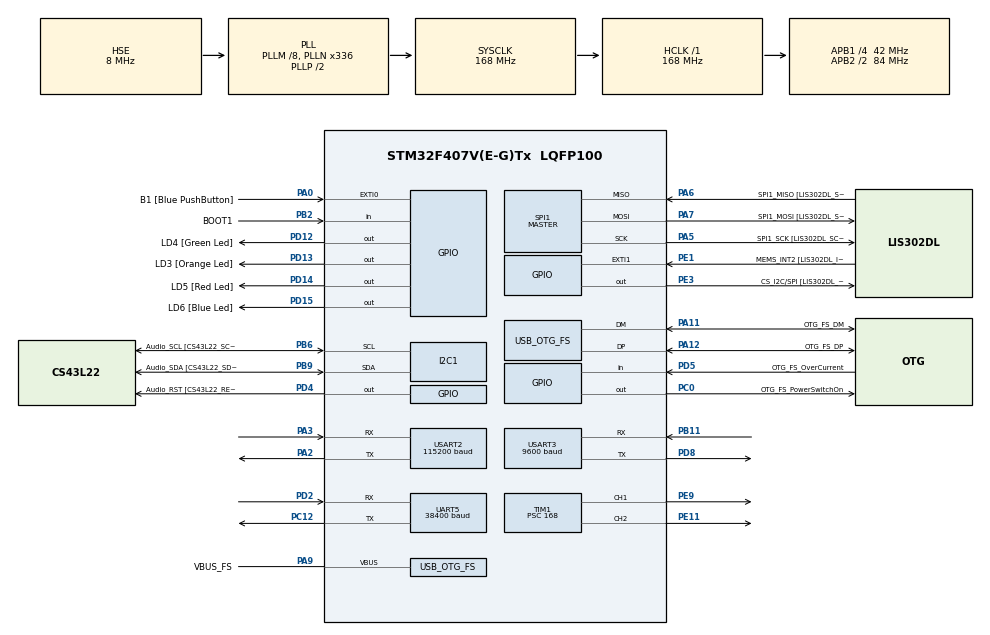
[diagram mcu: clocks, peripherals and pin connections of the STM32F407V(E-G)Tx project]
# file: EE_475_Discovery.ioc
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Dma.Request0=USART3_RX
Dma.USART3_RX.0.Direction=DMA_PERIPH_TO_MEMORY
Dma.USART3_RX.0.FIFOMode=DMA_FIFOMODE_DISABLE
Dma.USART3_RX.0.Instance=DMA1_Stream1
Dma.USART3_RX.0.MemDataAlignment=DMA_MDATAALIGN_BYTE
Dma.USART3_RX.0.MemInc=DMA_MINC_ENABLE
Dma.USART3_RX.0.Mode=DMA_CIRCULAR
Dma.USART3_RX.0.PeriphDataAlignment=DMA_PDATAALIGN_BYTE
Dma.USART3_RX.0.PeriphInc=DMA_PINC_DISABLE
Dma.USART3_RX.0.Priority=DMA_PRIORITY_LOW
Mcu.Family=STM32F4
Mcu.Name=STM32F407V(E-G)Tx
Mcu.Package=LQFP100
NVIC.DMA1_Stream1_IRQn=true\:0\:0\:false\:false\:true\:false\:true\:true
NVIC.OTG_FS_IRQn=true\:0\:0\:false\:false\:true\:true\:true\:true
NVIC.PriorityGroup=NVIC_PRIORITYGROUP_0
NVIC.UART5_IRQn=true\:0\:0\:false\:false\:true\:true\:true\:true
NVIC.USART3_IRQn=true\:0\:0\:false\:false\:true\:true\:true\:true
PA0-WKUP.GPIO_Label=B1 [Blue PushButton]
PA0-WKUP.GPIO_ModeDefaultEXTI=GPIO_MODE_EVT_RISING
PA0-WKUP.GPIO_PuPd=GPIO_NOPULL
PA0-WKUP.Signal=GPXTI0
PA10.GPIO_Label=OTG_FS_ID
PA10.GPIO_Mode=GPIO_MODE_AF_PP
PA10.GPIO_PuPd=GPIO_NOPULL
PA10.GPIO_Speed=GPIO_SPEED_FREQ_LOW
PA10.Signal=USB_OTG_FS_ID
PA11.GPIO_Label=OTG_FS_DM
PA11.GPIO_Mode=GPIO_MODE_AF_PP
PA11.GPIO_PuPd=GPIO_NOPULL
PA11.GPIO_Speed=GPIO_SPEED_FREQ_LOW
PA11.Mode=Host_Only
PA11.Signal=USB_OTG_FS_DM
PA12.GPIO_Label=OTG_FS_DP
PA12.GPIO_Mode=GPIO_MODE_AF_PP
PA12.GPIO_PuPd=GPIO_NOPULL
PA12.GPIO_Speed=GPIO_SPEED_FREQ_LOW
PA12.Mode=Host_Only
PA12.Signal=USB_OTG_FS_DP
PA13.GPIO_Label=SWDIO
PA13.Mode=Serial_Wire
PA13.Signal=SYS_JTMS-SWDIO
PA14.GPIO_Label=SWCLK
PA14.Mode=Serial_Wire
PA14.Signal=SYS_JTCK-SWCLK
PA2.Mode=Asynchronous
PA2.Signal=USART2_TX
PA3.Mode=Asynchronous
PA3.Signal=USART2_RX
PA4.GPIO_Mode=GPIO_MODE_AF_PP
PA4.GPIO_PuPd=GPIO_NOPULL
PA4.GPIO_Speed=GPIO_SPEED_FREQ_LOW
PA4.Signal=I2S3_WS
PA5.GPIO_Label=SPI1_SCK [LIS302DL_SCL/SPC]
PA5.GPIO_Mode=GPIO_MODE_AF_PP
PA5.GPIO_PuPd=GPIO_NOPULL
PA5.GPIO_Speed=GPIO_SPEED_FREQ_LOW
PA5.Mode=Full_Duplex_Master
PA5.Signal=SPI1_SCK
PA6.GPIO_Label=SPI1_MISO [LIS302DL_SDO]
PA6.GPIO_Mode=GPIO_MODE_AF_PP
PA6.GPIO_PuPd=GPIO_NOPULL
PA6.GPIO_Speed=GPIO_SPEED_FREQ_LOW
PA6.Mode=Full_Duplex_Master
PA6.Signal=SPI1_MISO
PA7.GPIO_Label=SPI1_MOSI [LIS302DL_SDA/SDI/SDO]
PA7.GPIO_Mode=GPIO_MODE_AF_PP
PA7.GPIO_PuPd=GPIO_NOPULL
PA7.GPIO_Speed=GPIO_SPEED_FREQ_LOW
PA7.Mode=Full_Duplex_Master
PA7.Signal=SPI1_MOSI
PA9.GPIO_Label=VBUS_FS
PA9.GPIO_Mode=GPIO_MODE_INPUT
PA9.GPIO_PuPd=GPIO_NOPULL
PA9.Mode=Activate_VBUS
PA9.Signal=USB_OTG_FS_VBUS
PB10.GPIO_Label=CLK_IN [MP45DT02_CLK]
PB10.GPIO_Mode=GPIO_MODE_AF_PP
PB10.GPIO_PuPd=GPIO_NOPULL
PB10.GPIO_Speed=GPIO_SPEED_FREQ_LOW
PB10.Signal=I2S2_CK
PB11.Mode=Asynchronous
PB11.Signal=USART3_RX
PB2.GPIO_Label=BOOT1
PB2.GPIO_Mode=GPIO_MODE_INPUT
PB2.GPIO_PuPd=GPIO_NOPULL
PB2.Signal=GPIO_Input
PB3.GPIO_Label=SWO
PB3.Signal=SYS_JTDO-SWO
PB6.GPIO_Label=Audio_SCL [CS43L22_SCL]
PB6.GPIO_Mode=GPIO_MODE_AF_OD
PB6.GPIO_Pu=GPIO_PULLUP
PB6.GPIO_PuPd=GPIO_NOPULL
PB6.GPIO_Speed=GPIO_SPEED_FREQ_LOW
PB6.Mode=I2C
PB6.Signal=I2C1_SCL
PB9.GPIO_Label=Audio_SDA [CS43L22_SDA]
PB9.GPIO_Mode=GPIO_MODE_AF_OD
PB9.GPIO_Pu=GPIO_PULLUP
PB9.GPIO_PuPd=GPIO_NOPULL
PB9.GPIO_Speed=GPIO_SPEED_FREQ_LOW
PB9.Mode=I2C
PB9.Signal=I2C1_SDA
PC0.GPIO_Label=OTG_FS_PowerSwitchOn
PC0.GPIO_PuPd=GPIO_NOPULL
PC0.GPIO_Speed=GPIO_SPEED_FREQ_LOW
PC0.PinState=GPIO_PIN_SET
PC0.Signal=GPIO_Output
PC10.GPIO_Mode=GPIO_MODE_AF_PP
PC10.GPIO_PuPd=GPIO_NOPULL
PC10.GPIO_Speed=GPIO_SPEED_FREQ_LOW
PC10.Signal=I2S3_CK
PC12.Mode=Asynchronous
PC12.Signal=UART5_TX
PC14-OSC32_IN.GPIO_Label=PC14-OSC32_IN
PC14-OSC32_IN.Mode=LSE-External-Oscillator
PC14-OSC32_IN.Signal=RCC_OSC32_IN
PC15-OSC32_OUT.GPIO_Label=PC15-OSC32_OUT
PC15-OSC32_OUT.Mode=LSE-External-Oscillator
PC15-OSC32_OUT.Signal=RCC_OSC32_OUT
PC3.GPIO_Label=PDM_OUT [MP45DT02_DOUT]
PC3.GPIO_Mode=GPIO_MODE_AF_PP
PC3.GPIO_PuPd=GPIO_NOPULL
PC3.GPIO_Speed=GPIO_SPEED_FREQ_LOW
PC3.Signal=I2S2_SD
PC7.GPIO_Mode=GPIO_MODE_AF_PP
PC7.GPIO_PuPd=GPIO_NOPULL
PC7.GPIO_Speed=GPIO_SPEED_FREQ_LOW
PC7.Signal=I2S3_MCK
PD12.GPIO_Label=LD4 [Green Led]
PD12.GPIO_PuPd=GPIO_NOPULL
PD12.GPIO_Speed=GPIO_SPEED_FREQ_LOW
PD12.Signal=GPIO_Output
PD13.GPIO_Label=LD3 [Orange Led]
PD13.GPIO_PuPd=GPIO_NOPULL
PD13.GPIO_Speed=GPIO_SPEED_FREQ_LOW
PD13.Signal=GPIO_Output
PD14.GPIO_Label=LD5 [Red Led]
PD14.GPIO_PuPd=GPIO_NOPULL
PD14.GPIO_Speed=GPIO_SPEED_FREQ_LOW
PD14.Signal=GPIO_Output
PD15.GPIO_Label=LD6 [Blue Led]
PD15.GPIO_PuPd=GPIO_NOPULL
PD15.GPIO_Speed=GPIO_SPEED_FREQ_LOW
PD15.Signal=GPIO_Output
PD2.Mode=Asynchronous
PD2.Signal=UART5_RX
PD4.GPIO_Label=Audio_RST [CS43L22_RESET]
PD4.GPIO_PuPd=GPIO_NOPULL
PD4.GPIO_Speed=GPIO_SPEED_FREQ_LOW
PD4.Signal=GPIO_Output
PD5.GPIO_Label=OTG_FS_OverCurrent
PD5.GPIO_Mode=GPIO_MODE_INPUT
PD5.GPIO_PuPd=GPIO_NOPULL
PD5.Signal=GPIO_Input
PD8.Mode=Asynchronous
PD8.Signal=USART3_TX
PE1.GPIO_Label=MEMS_INT2 [LIS302DL_INT2]
PE1.GPIO_ModeDefaultEXTI=GPIO_MODE_EVT_RISING
PE1.GPIO_PuPd=GPIO_NOPULL
PE1.Signal=GPXTI1
PE11.Signal=S_TIM1_CH2
PE3.GPIO_Label=CS_I2C/SPI [LIS302DL_CS_I2C/SPI]
PE3.GPIO_PuPd=GPIO_NOPULL
PE3.GPIO_Speed=GPIO_SPEED_FREQ_LOW
PE3.Signal=GPIO_Output
PE9.Signal=S_TIM1_CH1
PH0-OSC_IN.GPIO_Label=PH0-OSC_IN
PH0-OSC_IN.Mode=HSE-External-Oscillator
PH0-OSC_IN.Signal=RCC_OSC_IN
PH1-OSC_OUT.GPIO_Label=PH1-OSC_OUT
PH1-OSC_OUT.Mode=HSE-External-Oscillator
PH1-OSC_OUT.Signal=RCC_OSC_OUT
ProjectManager.HeapSize=0x200
ProjectManager.StackSize=0x400
ProjectManager.TargetToolchain=STM32CubeIDE
RCC.48MHZClocksFreq_Value=48000000
RCC.AHBFreq_Value=168000000
RCC.APB1CLKDivider=RCC_HCLK_DIV4
RCC.APB1Freq_Value=42000000
RCC.APB1TimFreq_Value=84000000
RCC.APB2CLKDivider=RCC_HCLK_DIV2
RCC.APB2Freq_Value=84000000
RCC.APB2TimFreq_Value=168000000
RCC.CortexFreq_Value=168000000
RCC.HCLKFreq_Value=168000000
RCC.HSE_VALUE=8000000
RCC.HSI_VALUE=16000000
RCC.PLLM=8
RCC.PLLN=336
RCC.PLLQ=7
RCC.SYSCLKFreq_VALUE=168000000
RCC.SYSCLKSource=RCC_SYSCLKSOURCE_PLLCLK
RCC.VCOOutputFreq_Value=336000000
SH.S_TIM1_CH1.0=TIM1_CH1,PWM Generation1 CH1
SH.S_TIM1_CH2.0=TIM1_CH2,PWM Generation2 CH2
SPI1.BaudRatePrescaler-Full_Duplex_Master=SPI_BAUDRATEPRESCALER_2
SPI1.CalculateBaudRate-Full_Duplex_Master=42.0 MBits/s
SPI1.Direction=SPI_DIRECTION_2LINES
SPI1.Mode=SPI_MODE_MASTER
SPI1.Mode-Full_Duplex_Master=SPI_MODE_MASTER
SPI1.VirtualType=VM_MASTER
TIM1.Channel-PWM\ Generation1\ CH1=TIM_CHANNEL_1
TIM1.Channel-PWM\ Generation2\ CH2=TIM_CHANNEL_2
TIM1.Period=20000
TIM1.Prescaler=168
TIM1.Pulse-PWM\ Generation1\ CH1=1000
UART5.BaudRate=38400
UART5.VirtualMode=Asynchronous
USART2.BaudRate=115200
USART2.VirtualMode=VM_ASYNC
USART3.BaudRate=9600
USART3.VirtualMode=VM_ASYNC
USB_HOST.BSP.number=1
USB_HOST.USBH_HandleTypeDef-CDC_FS=hUsbHostFS
USB_HOST.VirtualModeFS=Cdc
USB_HOST0.BSP.STBoard=false
USB_HOST0.BSP.api=Unknown
USB_HOST0.BSP.instance=PC0
USB_HOST0.BSP.ip=GPIO
USB_HOST0.BSP.mode=Output
USB_HOST0.BSP.name=Drive_VBUS_FS
USB_HOST0.BSP.solution=PC0
USB_OTG_FS.VirtualMode=Host_Only
USB_OTG_FS.phy_itface=HCD_PHY_EMBEDDED
VP_TIM1_VS_ClockSourceINT.Mode=Internal
VP_USB_HOST_VS_USB_HOST_CDC_FS.Mode=CDC_FS
board=STM32F407G-DISC1

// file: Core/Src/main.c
/* USER CODE BEGIN Header */
/**
  ******************************************************************************
  * @file           : main.c
  * @brief          : Main program body
  ******************************************************************************
  * @attention
  *
  * Copyright (c) 2024 STMicroelectronics.
  * All rights reserved.
  *
  * This software is licensed under terms that can be found in the LICENSE file
  * in the root directory of this software component.
  * If no LICENSE file comes with this software, it is provided AS-IS.
  *
  ******************************************************************************
  */
/* USER CODE END Header */
#include "main.h"
#include "usb_host.h"

/* USER CODE BEGIN Includes */
#include <math.h>
#include <string.h>
#include <stdio.h>
#include <stdlib.h>
/* USER CODE END Includes */

/* USER CODE BEGIN PTD */
double format_NMEA(char* buf);
void format_data(double Time, double Lat, double Long);

void update_target();
void update_IMU_heading();
void parse_GPS(char* buf, int count);
void parse_lora(char* buf, int count);

void set_speed(float speed);
void set_steering(float direction);

// float read_rel_heading_quat();
/* USER CODE END PTD */

/* USER CODE BEGIN PD */
#define LOOP_DELAY 100
#define FOUNTAIN_R 33.0;
#define BNO055_ADDRESS 0x28
#define BNO055_MODE_COMPASS 0x09
#define BNO055_MODE_IMU     0x08
#define BNO055_ADDR_OPRMODE 0x3D
#define BNO055_ADDR_HEADING 0x1A
#define BNO055_ADDR_QUATERNION 0x20

#define DEG2RAD(deg) deg * M_PI / 180.0
#define PRINT_N(buf, n) HAL_UART_Transmit(&huart2, (uint8_t*) buf, n, HAL_MAX_DELAY)
#define PRINT(str) HAL_UART_Transmit(&huart2, (uint8_t*) str, strlen(str), HAL_MAX_DELAY)
/* USER CODE END PD */

I2C_HandleTypeDef hi2c1;

SPI_HandleTypeDef hspi1;

TIM_HandleTypeDef htim1;

UART_HandleTypeDef huart5;
UART_HandleTypeDef huart2;
UART_HandleTypeDef huart3;
DMA_HandleTypeDef hdma_usart3_rx;

/* USER CODE BEGIN PV */
double target_latitude = 47.6541352, target_longitude = -122.3003120;
double time = 0, latitude = 0, longitude = 0; // from GPS
float GPS_heading, IMU_heading = 0;
uint8_t GPS_heading_ready = 0, GPS_location_ready = 0; // is data new
float IMU_heading_offset = 0; // difference between IMU and GPS heading
float steer_Pk = 2.0; // P constant for heading control

double target_heading = 0; // absolute heading towards the target in degrees
double target_distance = 0; // distance from the target in meters

// UART stuff
char UART2_Tx_buf[100]; // Debug
char UART3_Rx_buf[100]; // GPS
char UART5_Rx_buf[100]; // LoRA/ESP32
int UART3_Rx_count = 0;
int UART5_Rx_count = 0;

uint8_t enable = 0; // motors are enabled
uint8_t run = 0; // ready to navigate
/* USER CODE END PV */

void SystemClock_Config(void);
static void MX_GPIO_Init(void);
static void MX_DMA_Init(void);
static void MX_I2C1_Init(void);
static void MX_SPI1_Init(void);
static void MX_USART2_UART_Init(void);
static void MX_TIM1_Init(void);
static void MX_USART3_UART_Init(void);
static void MX_UART5_Init(void);
void MX_USB_HOST_Process(void);

/* USER CODE BEGIN 0 */

// UART Callback
void HAL_UART_RxCpltCallback(UART_HandleTypeDef *huart) {
	if (huart == &huart3) { // received byte from GPS
		uint8_t c = UART3_Rx_buf[UART3_Rx_count++];

		if(c == '\n' || UART3_Rx_count >= 100) {
			parse_GPS(UART3_Rx_buf, UART3_Rx_count);
			UART3_Rx_count = 0;
		}

		HAL_UART_Receive_IT(&huart3, (uint8_t*) UART3_Rx_buf + UART3_Rx_count, 1);

	} else if (huart == &huart5) { // received byte from LoRA/ESP32
		char c = UART5_Rx_buf[UART5_Rx_count++];

		if(c == '\n' || UART5_Rx_count >= 100) {
			parse_lora(UART5_Rx_buf, UART5_Rx_count);
			UART5_Rx_count = 0;
		}

		HAL_UART_Receive_IT(&huart5, (uint8_t*) UART5_Rx_buf + UART5_Rx_count, 1);
	}
}

// Updates target_heading and target_distance based on the current location
// and target location. (Haversine formula)
void update_target() {
    double lat, lon, tar_lat, tar_lon;

    // Convert latitude and longitude from degrees to radians
    lat = DEG2RAD(latitude);
    lon = DEG2RAD(longitude);
    tar_lat = DEG2RAD(target_latitude);
    tar_lon = DEG2RAD(target_longitude);
    double dlon = tar_lon - lon;
    double dlat = tar_lat - lat;

    // Calculate the bearing(direction)
    double y = sin(dlon) * cos(tar_lat);
    double x = cos(lat) * sin(tar_lat) - sin(lat) * cos(lat) * cos(dlon);
    double heading_rad = atan2(y, x);
    double heading_deg = heading_rad * (180 / M_PI);
    target_heading = fmod(heading_deg + 360, 360);

    // Calculate distance
    double a = pow(sin(dlat / 2), 2) + cos(lat) * cos(tar_lat) * pow(sin(dlon / 2), 2);
    double c = 2 * atan2(sqrt(a), sqrt(1 - a));
    target_distance = 6371000 * c;
}

// parse line from LoRA/ESP32
void parse_lora(char* buf, int count) {
	if (count == 0) return;
	// PRINT_N(buf, count);

	// split on spaces
	int i = 0;
	char* items[4];
	char* ptr = buf;
	items[i++] = ptr;

	while (ptr < buf+count) {
		if (*ptr == ' ') {
			*ptr = '\0';
			if (i < 4) items[i++] = ptr+1;
			else break;
		}
		ptr++;
	}
	if (i < 2) return;

	// process command
	if (strncmp(items[1], "SET", 3) == 0) {
		if (i >= 4) {
			target_latitude = atof(items[2]);
			target_longitude = atof(items[3]);
			sprintf(UART2_Tx_buf, "New target received! %f %f\r\n",
					target_latitude, target_longitude);
			PRINT(UART2_Tx_buf);
		}
	} else if (strncmp(items[1], "STOP", 4) == 0) {
		enable = 0;
		PRINT("Stop received!\r\n");
	} else if (strncmp(items[1], "START", 5) == 0) {
		enable = 1;
		PRINT("Start received!\r\n");
	}
}

void parse_GPS(char* buf, int count) {
	// $GPRMC,011725.00,A,4739.21106,N,12218.32692,W,0.019,,190224,,,D*6A
	// 0      1         2 3          4 5           6

	if (strncmp((char*) buf, "$GPRMC", 6)) return;

	// split on commas
	int i = 0;
	char* items[11];
	char* ptr = buf;
	items[i++] = ptr;

	while (ptr < buf+count) {
		if (*ptr == ',') {
			*ptr = '\0';
			if (i < 11) items[i++] = ptr+1;
			else break;
		}
		ptr++;
	}

	// process data
	if (*items[2] == 'A') time = atof((char*) items[1]);
	if (*items[4] == 'N') {
		GPS_location_ready = 1;
		latitude = format_NMEA(items[3]);
	} else if (*items[4] == 'S') {
		GPS_location_ready = 1;
		latitude = -format_NMEA(items[3]);
	}
	if (*items[6] == 'E') {
		GPS_location_ready = 1;
		longitude = format_NMEA(items[5]);
	} else if (*items[6] == 'W') {
		GPS_location_ready = 1;
		longitude = -format_NMEA(items[5]);
	}
	if (*items[8] != '\0') {
		GPS_heading_ready = 1;
		GPS_heading = atof((char*) items[8]);
	}
}

// parse NMEA format longitude or latitude (ddmm.mmmmm)
double format_NMEA(char* buf) {
	double val = atof(buf);
	int deg = val/100;
	return (val - deg*100)/60 + deg;
}

// old method for parsing GPS data
void format_data(double Time, double Lat, double Long) {
	int Hours = Time / 10000;
	int Min = (int)(Time - (Hours * 10000)) / 100;
	int Sec = (int)(Time - ((Hours * 10000) + (Min * 100)));

	Hours -= 8;
	if (Hours < 0) Hours += 24;

	sprintf(UART2_Tx_buf, "Time=%d:%d:%d Latitude=%f, Longitude=%f\r\n",
			Hours, Min, Sec, Lat, Long);
	PRINT(UART2_Tx_buf);
}

// updates IMU_heading by reading from IMU
void update_IMU_heading() {
	uint8_t data[2];
	HAL_I2C_Mem_Read(&hi2c1, BNO055_ADDRESS << 1, BNO055_ADDR_HEADING, I2C_MEMADD_SIZE_8BIT, data, 2, HAL_MAX_DELAY);
	IMU_heading = (float)((int16_t)(data[1] << 8 | data[0])) / 16.0;
}

// set steering servo PWM
void set_steering(float direction) {
	int pulse = direction*500+1500;
	if (pulse > 2000) pulse = 2000;
	if (pulse < 1000) pulse = 1000;
	__HAL_TIM_SET_COMPARE(&htim1, TIM_CHANNEL_1, pulse);
}

// set drive motor PWM
void set_speed(float speed) {
	int pulse = speed*200+1500;
	if (pulse > 1700) pulse = 1700;
	if (pulse < 1500) pulse = 1500;
	__HAL_TIM_SET_COMPARE(&htim1, TIM_CHANNEL_2, pulse);
}
/* USER CODE END 0 */

int main(void)
{

  /* MCU Configuration--------------------------------------------------------*/

  /* Reset of all peripherals, Initializes the Flash interface and the Systick. */
  HAL_Init();

  /* Configure the system clock */
  SystemClock_Config();

  /* Initialize all configured peripherals */
  MX_GPIO_Init();
  MX_DMA_Init();
  MX_I2C1_Init();
  MX_SPI1_Init();
  MX_USB_HOST_Init();
  MX_USART2_UART_Init();
  MX_TIM1_Init();
  MX_USART3_UART_Init();
  MX_UART5_Init();
  /* USER CODE BEGIN 2 */
  PRINT("Hello!\r\n");
  enable = 0; // wait for START command

  HAL_TIM_PWM_Start(&htim1, TIM_CHANNEL_1);
  HAL_TIM_PWM_Start(&htim1, TIM_CHANNEL_2);
  HAL_UART_Receive_IT(&huart3, (uint8_t*) UART3_Rx_buf, 1); // begin GPS Rx interrupt loop
  HAL_UART_Receive_IT(&huart5, (uint8_t*) UART5_Rx_buf, 1); // begin LoRA/ESP32 Rx interrupt loop

  // initialize IMU
  uint8_t mode = BNO055_MODE_IMU; // IMU mode, calculates orientation
  HAL_I2C_Mem_Write(&hi2c1, BNO055_ADDRESS << 1, BNO055_ADDR_OPRMODE, I2C_MEMADD_SIZE_8BIT, &mode, 1, HAL_MAX_DELAY);

  // initialize car
  set_steering(0);
  set_speed(0);
  HAL_Delay(2000);
  /* USER CODE END 2 */

  /* Infinite loop */
  while (1)
  {
    MX_USB_HOST_Process();

    /* USER CODE BEGIN 3 */
    update_IMU_heading();

    // if new GPS data, update values
    if (GPS_location_ready) {
    	GPS_location_ready = 0;
    	update_target();
    	sprintf(UART2_Tx_buf, "Distance: %f Heading: %f\r\n",
    				target_distance, target_heading);
    	// PRINT(UART2_Tx_buf);
    	run = (target_distance > 2); // should I keep going?
    }

    // main control loop
    if (run && enable) {
    	// get heading estimate
    	float heading = IMU_heading + IMU_heading_offset;
    	if (heading >= 360) heading -= 360;

    	// update heading offset
    	if (GPS_heading_ready) {
    		GPS_heading_ready = 0;
    		float error = heading - GPS_heading;
    		if (error < -180) error += 360;
    		else if (error >= 180) error -= 360;
    		IMU_heading_offset -= error/5; // move offset towards absolute heading
    		if (IMU_heading_offset < 0) IMU_heading_offset += 360;
    		else if (IMU_heading_offset >= 360) IMU_heading_offset -= 360;
    	}

    	// calculate heading error
    	float target_error = heading - target_heading;
    	if (target_error < -180) target_error += 360;
    	else if (target_error >= 180) target_error -= 360;

    	// P-controller for steering
    	set_steering(target_error/180.0*steer_Pk);
    	set_speed(.7);
    } else {
    	// stop
    	set_steering(0);
    	set_speed(0);
    }

    HAL_Delay(LOOP_DELAY);
  }
  /* USER CODE END 3 */
}

void SystemClock_Config(void)
{
  RCC_OscInitTypeDef RCC_OscInitStruct = {0};
  RCC_ClkInitTypeDef RCC_ClkInitStruct = {0};

  /** Configure the main internal regulator output voltage
  */
  __HAL_RCC_PWR_CLK_ENABLE();
  __HAL_PWR_VOLTAGESCALING_CONFIG(PWR_REGULATOR_VOLTAGE_SCALE1);

  /** Initializes the RCC Oscillators according to the specified parameters
  * in the RCC_OscInitTypeDef structure.
  */
  RCC_OscInitStruct.OscillatorType = RCC_OSCILLATORTYPE_HSE;
  RCC_OscInitStruct.HSEState = RCC_HSE_ON;
  RCC_OscInitStruct.PLL.PLLState = RCC_PLL_ON;
  RCC_OscInitStruct.PLL.PLLSource = RCC_PLLSOURCE_HSE;
  RCC_OscInitStruct.PLL.PLLM = 8;
  RCC_OscInitStruct.PLL.PLLN = 336;
  RCC_OscInitStruct.PLL.PLLP = RCC_PLLP_DIV2;
  RCC_OscInitStruct.PLL.PLLQ = 7;
  if (HAL_RCC_OscConfig(&RCC_OscInitStruct) != HAL_OK)
  {
    Error_Handler();
  }

  /** Initializes the CPU, AHB and APB buses clocks
  */
  RCC_ClkInitStruct.ClockType = RCC_CLOCKTYPE_HCLK|RCC_CLOCKTYPE_SYSCLK
                              |RCC_CLOCKTYPE_PCLK1|RCC_CLOCKTYPE_PCLK2;
  RCC_ClkInitStruct.SYSCLKSource = RCC_SYSCLKSOURCE_PLLCLK;
  RCC_ClkInitStruct.AHBCLKDivider = RCC_SYSCLK_DIV1;
  RCC_ClkInitStruct.APB1CLKDivider = RCC_HCLK_DIV4;
  RCC_ClkInitStruct.APB2CLKDivider = RCC_HCLK_DIV2;

  if (HAL_RCC_ClockConfig(&RCC_ClkInitStruct, FLASH_LATENCY_5) != HAL_OK)
  {
    Error_Handler();
  }
}

static void MX_I2C1_Init(void)
{

  hi2c1.Instance = I2C1;
  hi2c1.Init.ClockSpeed = 100000;
  hi2c1.Init.DutyCycle = I2C_DUTYCYCLE_2;
  hi2c1.Init.OwnAddress1 = 0;
  hi2c1.Init.AddressingMode = I2C_ADDRESSINGMODE_7BIT;
  hi2c1.Init.DualAddressMode = I2C_DUALADDRESS_DISABLE;
  hi2c1.Init.OwnAddress2 = 0;
  hi2c1.Init.GeneralCallMode = I2C_GENERALCALL_DISABLE;
  hi2c1.Init.NoStretchMode = I2C_NOSTRETCH_DISABLE;
  if (HAL_I2C_Init(&hi2c1) != HAL_OK)
  {
    Error_Handler();
  }

}

static void MX_SPI1_Init(void)
{

  /* SPI1 parameter configuration*/
  hspi1.Instance = SPI1;
  hspi1.Init.Mode = SPI_MODE_MASTER;
  hspi1.Init.Direction = SPI_DIRECTION_2LINES;
  hspi1.Init.DataSize = SPI_DATASIZE_8BIT;
  hspi1.Init.CLKPolarity = SPI_POLARITY_LOW;
  hspi1.Init.CLKPhase = SPI_PHASE_1EDGE;
  hspi1.Init.NSS = SPI_NSS_SOFT;
  hspi1.Init.BaudRatePrescaler = SPI_BAUDRATEPRESCALER_2;
  hspi1.Init.FirstBit = SPI_FIRSTBIT_MSB;
  hspi1.Init.TIMode = SPI_TIMODE_DISABLE;
  hspi1.Init.CRCCalculation = SPI_CRCCALCULATION_DISABLE;
  hspi1.Init.CRCPolynomial = 10;
  if (HAL_SPI_Init(&hspi1) != HAL_OK)
  {
    Error_Handler();
  }

}

static void MX_TIM1_Init(void)
{

  TIM_ClockConfigTypeDef sClockSourceConfig = {0};
  TIM_MasterConfigTypeDef sMasterConfig = {0};
  TIM_OC_InitTypeDef sConfigOC = {0};
  TIM_BreakDeadTimeConfigTypeDef sBreakDeadTimeConfig = {0};

  htim1.Instance = TIM1;
  htim1.Init.Prescaler = 168;
  htim1.Init.CounterMode = TIM_COUNTERMODE_UP;
  htim1.Init.Period = 20000;
  htim1.Init.ClockDivision = TIM_CLOCKDIVISION_DIV1;
  htim1.Init.RepetitionCounter = 0;
  htim1.Init.AutoReloadPreload = TIM_AUTORELOAD_PRELOAD_DISABLE;
  if (HAL_TIM_Base_Init(&htim1) != HAL_OK)
  {
    Error_Handler();
  }
  sClockSourceConfig.ClockSource = TIM_CLOCKSOURCE_INTERNAL;
  if (HAL_TIM_ConfigClockSource(&htim1, &sClockSourceConfig) != HAL_OK)
  {
    Error_Handler();
  }
  if (HAL_TIM_PWM_Init(&htim1) != HAL_OK)
  {
    Error_Handler();
  }
  sMasterConfig.MasterOutputTrigger = TIM_TRGO_RESET;
  sMasterConfig.MasterSlaveMode = TIM_MASTERSLAVEMODE_DISABLE;
  if (HAL_TIMEx_MasterConfigSynchronization(&htim1, &sMasterConfig) != HAL_OK)
  {
    Error_Handler();
  }
  sConfigOC.OCMode = TIM_OCMODE_PWM1;
  sConfigOC.Pulse = 1000;
  sConfigOC.OCPolarity = TIM_OCPOLARITY_HIGH;
  sConfigOC.OCNPolarity = TIM_OCNPOLARITY_HIGH;
  sConfigOC.OCFastMode = TIM_OCFAST_DISABLE;
  sConfigOC.OCIdleState = TIM_OCIDLESTATE_RESET;
  sConfigOC.OCNIdleState = TIM_OCNIDLESTATE_RESET;
  if (HAL_TIM_PWM_ConfigChannel(&htim1, &sConfigOC, TIM_CHANNEL_1) != HAL_OK)
  {
    Error_Handler();
  }
  sConfigOC.Pulse = 0;
  if (HAL_TIM_PWM_ConfigChannel(&htim1, &sConfigOC, TIM_CHANNEL_2) != HAL_OK)
  {
    Error_Handler();
  }
  sBreakDeadTimeConfig.OffStateRunMode = TIM_OSSR_DISABLE;
  sBreakDeadTimeConfig.OffStateIDLEMode = TIM_OSSI_DISABLE;
  sBreakDeadTimeConfig.LockLevel = TIM_LOCKLEVEL_OFF;
  sBreakDeadTimeConfig.DeadTime = 0;
  sBreakDeadTimeConfig.BreakState = TIM_BREAK_DISABLE;
  sBreakDeadTimeConfig.BreakPolarity = TIM_BREAKPOLARITY_HIGH;
  sBreakDeadTimeConfig.AutomaticOutput = TIM_AUTOMATICOUTPUT_DISABLE;
  if (HAL_TIMEx_ConfigBreakDeadTime(&htim1, &sBreakDeadTimeConfig) != HAL_OK)
  {
    Error_Handler();
  }
  HAL_TIM_MspPostInit(&htim1);

}

static void MX_UART5_Init(void)
{

  huart5.Instance = UART5;
  huart5.Init.BaudRate = 38400;
  huart5.Init.WordLength = UART_WORDLENGTH_8B;
  huart5.Init.StopBits = UART_STOPBITS_1;
  huart5.Init.Parity = UART_PARITY_NONE;
  huart5.Init.Mode = UART_MODE_TX_RX;
  huart5.Init.HwFlowCtl = UART_HWCONTROL_NONE;
  huart5.Init.OverSampling = UART_OVERSAMPLING_16;
  if (HAL_UART_Init(&huart5) != HAL_OK)
  {
    Error_Handler();
  }

}

static void MX_USART2_UART_Init(void)
{

  huart2.Instance = USART2;
  huart2.Init.BaudRate = 115200;
  huart2.Init.WordLength = UART_WORDLENGTH_8B;
  huart2.Init.StopBits = UART_STOPBITS_1;
  huart2.Init.Parity = UART_PARITY_NONE;
  huart2.Init.Mode = UART_MODE_TX_RX;
  huart2.Init.HwFlowCtl = UART_HWCONTROL_NONE;
  huart2.Init.OverSampling = UART_OVERSAMPLING_16;
  if (HAL_UART_Init(&huart2) != HAL_OK)
  {
    Error_Handler();
  }

}

static void MX_USART3_UART_Init(void)
{

  huart3.Instance = USART3;
  huart3.Init.BaudRate = 9600;
  huart3.Init.WordLength = UART_WORDLENGTH_8B;
  huart3.Init.StopBits = UART_STOPBITS_1;
  huart3.Init.Parity = UART_PARITY_NONE;
  huart3.Init.Mode = UART_MODE_TX_RX;
  huart3.Init.HwFlowCtl = UART_HWCONTROL_NONE;
  huart3.Init.OverSampling = UART_OVERSAMPLING_16;
  if (HAL_UART_Init(&huart3) != HAL_OK)
  {
    Error_Handler();
  }

}

static void MX_DMA_Init(void)
{

  /* DMA controller clock enable */
  __HAL_RCC_DMA1_CLK_ENABLE();

  /* DMA interrupt init */
  /* DMA1_Stream1_IRQn interrupt configuration */
  HAL_NVIC_SetPriority(DMA1_Stream1_IRQn, 0, 0);
  HAL_NVIC_EnableIRQ(DMA1_Stream1_IRQn);

}

static void MX_GPIO_Init(void)
{
  GPIO_InitTypeDef GPIO_InitStruct = {0};

  /* GPIO Ports Clock Enable */
  __HAL_RCC_GPIOE_CLK_ENABLE();
  __HAL_RCC_GPIOC_CLK_ENABLE();
  __HAL_RCC_GPIOH_CLK_ENABLE();
  __HAL_RCC_GPIOA_CLK_ENABLE();
  __HAL_RCC_GPIOB_CLK_ENABLE();
  __HAL_RCC_GPIOD_CLK_ENABLE();

  /*Configure GPIO pin Output Level */
  HAL_GPIO_WritePin(CS_I2C_SPI_GPIO_Port, CS_I2C_SPI_Pin, GPIO_PIN_RESET);

  /*Configure GPIO pin Output Level */
  HAL_GPIO_WritePin(OTG_FS_PowerSwitchOn_GPIO_Port, OTG_FS_PowerSwitchOn_Pin, GPIO_PIN_SET);

  /*Configure GPIO pin Output Level */
  HAL_GPIO_WritePin(GPIOD, LD4_Pin|LD3_Pin|LD5_Pin|LD6_Pin
                          |Audio_RST_Pin, GPIO_PIN_RESET);

  /*Configure GPIO pin : CS_I2C_SPI_Pin */
  GPIO_InitStruct.Pin = CS_I2C_SPI_Pin;
  GPIO_InitStruct.Mode = GPIO_MODE_OUTPUT_PP;
  GPIO_InitStruct.Pull = GPIO_NOPULL;
  GPIO_InitStruct.Speed = GPIO_SPEED_FREQ_LOW;
  HAL_GPIO_Init(CS_I2C_SPI_GPIO_Port, &GPIO_InitStruct);

  /*Configure GPIO pin : OTG_FS_PowerSwitchOn_Pin */
  GPIO_InitStruct.Pin = OTG_FS_PowerSwitchOn_Pin;
  GPIO_InitStruct.Mode = GPIO_MODE_OUTPUT_PP;
  GPIO_InitStruct.Pull = GPIO_NOPULL;
  GPIO_InitStruct.Speed = GPIO_SPEED_FREQ_LOW;
  HAL_GPIO_Init(OTG_FS_PowerSwitchOn_GPIO_Port, &GPIO_InitStruct);

  /*Configure GPIO pin : PDM_OUT_Pin */
  GPIO_InitStruct.Pin = PDM_OUT_Pin;
  GPIO_InitStruct.Mode = GPIO_MODE_AF_PP;
  GPIO_InitStruct.Pull = GPIO_NOPULL;
  GPIO_InitStruct.Speed = GPIO_SPEED_FREQ_LOW;
  GPIO_InitStruct.Alternate = GPIO_AF5_SPI2;
  HAL_GPIO_Init(PDM_OUT_GPIO_Port, &GPIO_InitStruct);

  /*Configure GPIO pin : B1_Pin */
  GPIO_InitStruct.Pin = B1_Pin;
  GPIO_InitStruct.Mode = GPIO_MODE_EVT_RISING;
  GPIO_InitStruct.Pull = GPIO_NOPULL;
  HAL_GPIO_Init(B1_GPIO_Port, &GPIO_InitStruct);

  /*Configure GPIO pin : PA4 */
  GPIO_InitStruct.Pin = GPIO_PIN_4;
  GPIO_InitStruct.Mode = GPIO_MODE_AF_PP;
  GPIO_InitStruct.Pull = GPIO_NOPULL;
  GPIO_InitStruct.Speed = GPIO_SPEED_FREQ_LOW;
  GPIO_InitStruct.Alternate = GPIO_AF6_SPI3;
  HAL_GPIO_Init(GPIOA, &GPIO_InitStruct);

  /*Configure GPIO pin : BOOT1_Pin */
  GPIO_InitStruct.Pin = BOOT1_Pin;
  GPIO_InitStruct.Mode = GPIO_MODE_INPUT;
  GPIO_InitStruct.Pull = GPIO_NOPULL;
  HAL_GPIO_Init(BOOT1_GPIO_Port, &GPIO_InitStruct);

  /*Configure GPIO pin : CLK_IN_Pin */
  GPIO_InitStruct.Pin = CLK_IN_Pin;
  GPIO_InitStruct.Mode = GPIO_MODE_AF_PP;
  GPIO_InitStruct.Pull = GPIO_NOPULL;
  GPIO_InitStruct.Speed = GPIO_SPEED_FREQ_LOW;
  GPIO_InitStruct.Alternate = GPIO_AF5_SPI2;
  HAL_GPIO_Init(CLK_IN_GPIO_Port, &GPIO_InitStruct);

  /*Configure GPIO pins : LD4_Pin LD3_Pin LD5_Pin LD6_Pin
                           Audio_RST_Pin */
  GPIO_InitStruct.Pin = LD4_Pin|LD3_Pin|LD5_Pin|LD6_Pin
                          |Audio_RST_Pin;
  GPIO_InitStruct.Mode = GPIO_MODE_OUTPUT_PP;
  GPIO_InitStruct.Pull = GPIO_NOPULL;
  GPIO_InitStruct.Speed = GPIO_SPEED_FREQ_LOW;
  HAL_GPIO_Init(GPIOD, &GPIO_InitStruct);

  /*Configure GPIO pins : PC7 PC10 */
  GPIO_InitStruct.Pin = GPIO_PIN_7|GPIO_PIN_10;
  GPIO_InitStruct.Mode = GPIO_MODE_AF_PP;
  GPIO_InitStruct.Pull = GPIO_NOPULL;
  GPIO_InitStruct.Speed = GPIO_SPEED_FREQ_LOW;
  GPIO_InitStruct.Alternate = GPIO_AF6_SPI3;
  HAL_GPIO_Init(GPIOC, &GPIO_InitStruct);

  /*Configure GPIO pin : OTG_FS_OverCurrent_Pin */
  GPIO_InitStruct.Pin = OTG_FS_OverCurrent_Pin;
  GPIO_InitStruct.Mode = GPIO_MODE_INPUT;
  GPIO_InitStruct.Pull = GPIO_NOPULL;
  HAL_GPIO_Init(OTG_FS_OverCurrent_GPIO_Port, &GPIO_InitStruct);

  /*Configure GPIO pin : MEMS_INT2_Pin */
  GPIO_InitStruct.Pin = MEMS_INT2_Pin;
  GPIO_InitStruct.Mode = GPIO_MODE_EVT_RISING;
  GPIO_InitStruct.Pull = GPIO_NOPULL;
  HAL_GPIO_Init(MEMS_INT2_GPIO_Port, &GPIO_InitStruct);

}

void Error_Handler(void)
{
  __disable_irq();
  while (1)
  {
  }
}
